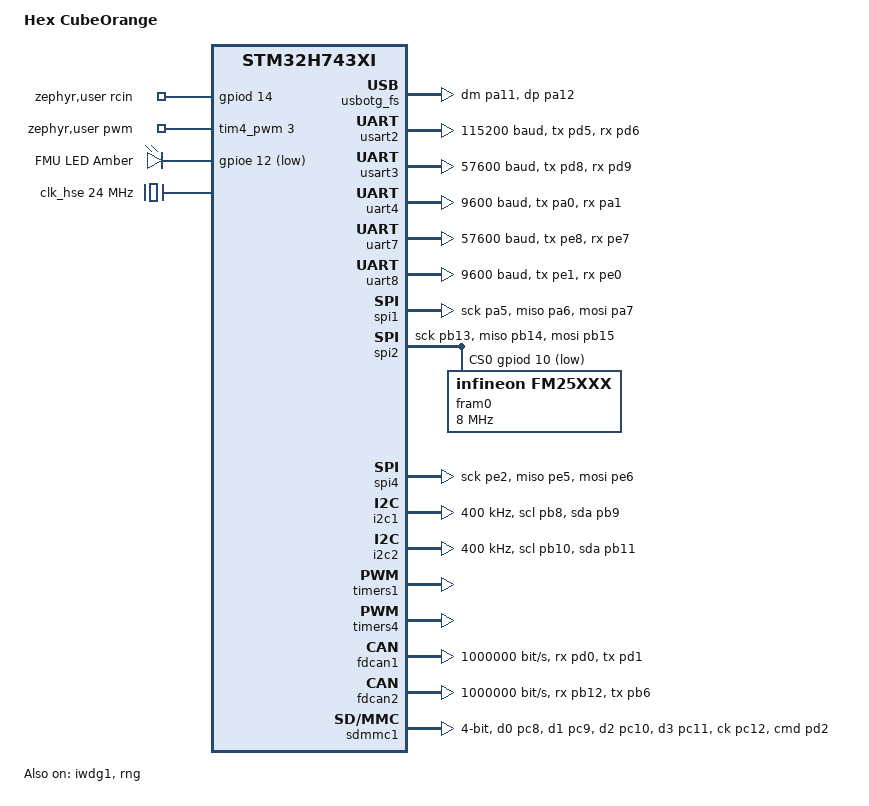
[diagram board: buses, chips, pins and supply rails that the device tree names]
/* Board DTS for Hex CubeOrange - STM32H743IIK6 flight management unit.
 * Same hardware as the ChibiOS CubeOrange target, deliberately, so the two
 * backends can be compared on one board. */

/dts-v1/;
#include <st/h7/stm32h743Xi.dtsi>
#include <st/h7/stm32h743iikx-pinctrl.dtsi>
#include <zephyr/dt-bindings/gpio/gpio.h>
#include <zephyr/dt-bindings/i2c/i2c.h>

/ {
	model = "Hex CubeOrange";
	compatible = "hex,cube-orange";

	chosen {
		zephyr,sram    = &sram0;
		zephyr,flash   = &flash0;
		/* Route printk/LOG to USB CDC ACM for terminal access */
		zephyr,console = &cdc_acm0;
		zephyr,stdout  = &cdc_acm0;
	};

	zephyr,user {
		/* PPM-SUM RC input: AUX OUT 6 pin (PD14) repurposed as a
		 * capture input (edge-IRQ + micros() timestamps in
		 * RCInput.cpp). Costs SERVO6 — see &timers4 below. Plug the
		 * receiver's PPM lead onto the AUX6 rail column. */
		rcin-gpios = <&gpiod 14 GPIO_ACTIVE_HIGH>;
		/* RC PPM hardware-capture device+channel
		 * (CONFIG_AP_RCIN_PWM_CAPTURE): TIM4 channel 3 = PD14/AUX6,
		 * see &timers4. Cells: <channel period flags>; period/flags
		 * unused in capture mode. When this config is enabled the
		 * rcin-gpios software edge path above compiles out. */
		pwms = <&tim4_pwm 3 0 0>;
	};

	aliases {
		/* UARTs — AP_HAL serial port indices */
		serial1 = &usart2;   /* TELEM1 */
		serial2 = &usart3;   /* TELEM2 */
		serial3 = &uart4;    /* GPS1   */
		serial4 = &uart8;    /* GPS2   */
		serial5 = &uart7;    /* SERIAL5 */
		/* CAN */
		can0 = &fdcan1;
		can1 = &fdcan2;
		/* LEDs */
		led-amber = &led_amber;
	};

	leds {
		compatible = "gpio-leds";
		led_amber: led-amber {
			/* PE12 FMU_LED_AMBER — active LOW open-drain */
			gpios = <&gpioe 12 (GPIO_ACTIVE_LOW | GPIO_OPEN_DRAIN)>;
			label = "FMU LED Amber";
		};
	};
};

/* ─── Clocks ────────────────────────────────────────────────────────────── */

&pwr {
	/* CubeOrange uses the LDO power supply (3.3 V regulator on-board) */
	power-supply = "ldo";
};

&clk_hse {
	clock-frequency = <DT_FREQ_M(24)>;
	status = "okay";
};

&clk_hsi48 {
	/* Required by usbotg_fs: STM32_SRC_HSI48 USB_SEL(3) in stm32h742.dtsi */
	status = "okay";
};

&pll {
	/* 24 MHz HSE / M=3 → 8 MHz × N=120 → 960 MHz VCO / P=2 → 480 MHz */
	div-m = <3>;
	mul-n = <120>;
	div-p = <2>;
	div-q = <8>;   /* 120 MHz SPI123 kernel clock — H743 spi_ker_ck max is
	                * 200 MHz; the previous 240 MHz was out of spec and SPI1
	                * reads returned garbage. USB uses PLL3_Q, not this. */
	div-r = <2>;
	clocks = <&clk_hse>;
	status = "okay";
};

&rcc {
	clocks = <&pll>;
	clock-frequency = <DT_FREQ_M(480)>;
	d1cpre  = <1>;   /* CPU     at 480 MHz */
	hpre    = <2>;   /* AHB     at 240 MHz */
	d1ppre  = <2>;   /* APB3    at 120 MHz */
	d2ppre1 = <2>;   /* APB1    at 120 MHz */
	d2ppre2 = <2>;   /* APB2    at 120 MHz */
	d3ppre  = <2>;   /* APB4    at 120 MHz */
};

/*
 * CubeOrange does not provide Zephyr's expected OTG FS VBUS sense path on PA9.
 * Keeping this pinctrl node causes STM32 legacy USB driver to enable VBUS
 * sensing and never attach CDC when PA9 reads low/floating.
 */
&pinctrl {
	/delete-node/ usb_otg_fs_vbus_pa9;
};

/* ─── USB OTG FS (SERIAL0 / GCS) ────────────────────────────────────────── */

/* PLL3_Q provides the 48 MHz USB kernel clock: 24 MHz HSE / M=3 -> 8 MHz x N=60
 * -> 480 MHz VCO / Q=10. HSI48 does not work on this part - the OTG core never
 * receives a kernel clock and GRSTCTL.CSRST hangs forever. */
&pll3 {
	div-m = <3>;
	mul-n = <60>;
	div-p = <2>;
	div-q = <10>;
	div-r = <2>;
	clocks = <&clk_hse>;
	status = "okay";
};

zephyr_udc0: &usbotg_fs {
	pinctrl-0 = <&usb_otg_fs_dm_pa11 &usb_otg_fs_dp_pa12>;
	pinctrl-names = "default";
	clocks = <&rcc STM32_CLOCK(AHB1, 27)>,
	         <&rcc STM32_SRC_PLL3_Q USB_SEL(2)>;
	status = "okay";

	cdc_acm0: cdc_acm0 {
		compatible = "zephyr,cdc-acm-uart";
	};
};

/* ─── UARTs ─────────────────────────────────────────────────────────────── */

/* All UARTs carry an explicit kernel/domain clock: PLL3_Q at 48 MHz. */

&usart2 {
	/* TELEM1: PD5 TX, PD6 RX — console path for BMP UART capture */
	pinctrl-0 = <&usart2_tx_pd5 &usart2_rx_pd6>;
	pinctrl-names = "default";
	clocks = <&rcc STM32_CLOCK(APB1, 17)>,
	         <&rcc STM32_SRC_PLL3_Q USART2345678_SEL(2)>;
	current-speed = <115200>;
	status = "okay";
};

&usart3 {
	/* TELEM2: PD8 TX, PD9 RX */
	pinctrl-0 = <&usart3_tx_pd8 &usart3_rx_pd9>;
	pinctrl-names = "default";
	clocks = <&rcc STM32_CLOCK(APB1, 18)>,
	         <&rcc STM32_SRC_PLL3_Q USART2345678_SEL(2)>;
	current-speed = <57600>;
	status = "okay";
};

&uart4 {
	/* GPS1: PA0 TX, PA1 RX */
	pinctrl-0 = <&uart4_tx_pa0 &uart4_rx_pa1>;
	pinctrl-names = "default";
	clocks = <&rcc STM32_CLOCK(APB1, 19)>,
	         <&rcc STM32_SRC_PLL3_Q USART2345678_SEL(2)>;
	current-speed = <9600>;
	status = "okay";
};

&uart7 {
	/* SERIAL5: PE8 TX, PE7 RX */
	pinctrl-0 = <&uart7_tx_pe8 &uart7_rx_pe7>;
	pinctrl-names = "default";
	clocks = <&rcc STM32_CLOCK(APB1, 30)>,
	         <&rcc STM32_SRC_PLL3_Q USART2345678_SEL(2)>;
	current-speed = <57600>;
	status = "okay";
};

&uart8 {
	/* GPS2: PE1 TX, PE0 RX */
	pinctrl-0 = <&uart8_tx_pe1 &uart8_rx_pe0>;
	pinctrl-names = "default";
	clocks = <&rcc STM32_CLOCK(APB1, 31)>,
	         <&rcc STM32_SRC_PLL3_Q USART2345678_SEL(2)>;
	current-speed = <9600>;
	status = "okay";
};

&usart6 {
	/* IOMCU: PC6 TX, PC7 RX. Brought up by hwdef_autogen.overlay, which
	 * emits status = "okay" from the PIN lines in hwdef.dat.
	 *
	 * The second clocks entry is the kernel clock source and is not
	 * optional: stm32h7.dtsi supplies only the APB2 gate, and without a
	 * source the driver divides against the wrong clock - BRR came out
	 * 1200 (about 100kbaud) instead of 1.5Mbaud. That is also a good way
	 * to never see TEACK assert, which is what this node was parked on.
	 */
	clocks = <&rcc STM32_CLOCK(APB2, 5)>,
	         <&rcc STM32_SRC_PLL3_Q USART16_SEL(2)>;
	pinctrl-0 = <&usart6_tx_pc6 &usart6_rx_pc7>;
	pinctrl-names = "default";
	current-speed = <1500000>;
	status = "disabled";
};

/* ─── SPI ───────────────────────────────────────────────────────────────── */

/*
 * SPI1: PA5 SCK, PA6 MISO, PA7 MOSI
 * CS: PC2 (icm20948 / MPU_CS), PD7 (ms5611 / BARO_CS)
 */
&spi1 {
	pinctrl-0 = <&spi1_sck_pa5 &spi1_miso_pa6 &spi1_mosi_pa7>;
	pinctrl-names = "default";
	/* CS order = hwdef.dat SPIDEV appearance order for this bus; the
	 * generated hwdef.h spi_dt_specs index into this array. Sensor devices
	 * themselves are NOT DTS nodes — hwdef.dat is their source of truth. */
	cs-gpios = <&gpiod 7 GPIO_ACTIVE_LOW>,   /* 0: BARO_CS (ms5611)   */
	           <&gpioc 2 GPIO_ACTIVE_LOW>;   /* 1: MPU_CS  (icm20948) */
	status = "okay";
};

/*
 * SPI2: PB13 SCK, PB14 MISO, PB15 MOSI
 * CS: PD10 (ramtron / FRAM_CS)
 */
&spi2 {
	pinctrl-0 = <&spi2_sck_pb13 &spi2_miso_pb14 &spi2_mosi_pb15>;
	pinctrl-names = "default";
	cs-gpios = <&gpiod 10 GPIO_ACTIVE_LOW>;  /* 0: FRAM_CS (ramtron) */
	status = "okay";

	/* FM25V02A 32 KiB FRAM — parameter storage (Storage.cpp backend 2,
	 * raw SPI via fram0 nodelabel; no Zephyr EEPROM driver needed).
	 * Same part/bus/CS as the ChibiOS "SPIDEV ramtron SPI2" entry. */
	fram0: fram@0 {
		compatible = "infineon,fm25xxx";
		reg = <0>;
		spi-max-frequency = <8000000>;
		size = <32768>;
	};
};

/*
 * SPI4: PE2 SCK, PE5 MISO, PE6 MOSI
 */
&spi4 {
	pinctrl-0 = <&spi4_sck_pe2 &spi4_miso_pe5 &spi4_mosi_pe6>;
	pinctrl-names = "default";
	/* Explicit domain clock: PLL3_Q (48 MHz, already running for USB).
	 * Do NOT use STM32_SRC_PCLK2 here — Zephyr's H7 enabled_clock() rejects
	 * it (-ENOTSUP), which failed spi4 init and left the device not-ready. */
	clocks = <&rcc STM32_CLOCK(APB2, 13)>,
	         <&rcc STM32_SRC_PLL3_Q SPI45_SEL(2)>;
	/* CS order = hwdef.dat SPIDEV appearance order for this bus. */
	cs-gpios = <&gpioc 14 GPIO_ACTIVE_LOW>,  /* 0: BARO_EXT_CS  (ms5611_ext)   */
	           <&gpioe 4  GPIO_ACTIVE_LOW>,  /* 1: MPU_EXT_CS   (icm20948_ext) */
	           <&gpioc 13 GPIO_ACTIVE_LOW>,  /* 2: GYRO_EXT_CS  (icm20602_ext) */
	           <&gpioc 15 GPIO_ACTIVE_LOW>;  /* 3: ACCEL_EXT_CS (pixartPC15)   */
	status = "okay";
};

/* ─── I2C ───────────────────────────────────────────────────────────────── */

/* I2C1: PB8 SCL, PB9 SDA — external connector.
 * Explicit domain clock: bootloader leaves I2C123SEL on PLL3_R (dead). */
&i2c1 {
	pinctrl-0 = <&i2c1_scl_pb8 &i2c1_sda_pb9>;
	pinctrl-names = "default";
	clocks = <&rcc STM32_CLOCK(APB1, 21)>,
	         <&rcc STM32_SRC_PCLK1 I2C123_SEL(0)>;
	clock-frequency = <I2C_BITRATE_FAST>;
	status = "okay";
};

/* I2C2: PB10 SCL, PB11 SDA — internal sensors */
&i2c2 {
	pinctrl-0 = <&i2c2_scl_pb10 &i2c2_sda_pb11>;
	pinctrl-names = "default";
	clocks = <&rcc STM32_CLOCK(APB1, 22)>,
	         <&rcc STM32_SRC_PCLK1 I2C123_SEL(0)>;
	clock-frequency = <I2C_BITRATE_FAST>;
	status = "okay";
};

/* ─── Watchdog (IWDG) ───────────────────────────────────────────────────── */

/* Independent hardware watchdog — the last-resort backstop the software
 * monitor thread cannot provide: if an IRQ storm or total lockup starves
 * every thread (including the monitor), only this LSI-clocked hardware
 * timer can reset the SoC. Fed by the monitor thread in Scheduler.cpp;
 * freezes on debugger halt so BMP/GDB sessions don't trip it. */
&iwdg1 {
	status = "okay";
};

/* ─── PWM outputs ───────────────────────────────────────────────────────── */

/* FMU AUX outputs 1-6 (ArduPilot PWM(1)..PWM(6), matching the ChibiOS
 * CubeOrange map: PWM1=TIM1_CH4 PE14, PWM2=TIM1_CH3 PE13, PWM3=TIM1_CH2
 * PE11, PWM4=TIM1_CH1 PE9, PWM5=TIM4_CH2 PD13, PWM6=TIM4_CH3 PD14).
 * MAIN outputs 1-8 sit behind the IOMCU (not supported yet).
 * st,prescaler 239: 240 MHz APBx timer kernel clock -> 1 MHz, 1 tick = 1 us. */
&timers1 {
	status = "okay";
	st,prescaler = <239>;
	tim1_pwm: pwm {
		status = "okay";
		pinctrl-0 = <&tim1_ch1_pe9 &tim1_ch2_pe11 &tim1_ch3_pe13 &tim1_ch4_pe14>;
		pinctrl-names = "default";
	};
};

/* TIM4: DEDICATED to RC PPM hardware input capture (2026-08-13). pwm_stm32 gates
 * output on the whole timer, so no channel of TIM4 can drive a servo. */
&timers4 {
	status = "okay";
	st,prescaler = <239>;
	tim4_pwm: pwm {
		status = "okay";
		four-channel-capture-support;
		pinctrl-0 = <&tim4_ch3_pd14>;
		pinctrl-names = "default";
	};
};

/* ─── CAN (FDCAN) ───────────────────────────────────────────────────────── */

/* FDCAN1: PD0 RX, PD1 TX — CAN1 bus */
&fdcan1 {
	pinctrl-0 = <&fdcan1_rx_pd0 &fdcan1_tx_pd1>;
	pinctrl-names = "default";
	bitrate = <1000000>;
	bitrate-data = <1000000>;
	status = "okay";
};

/* FDCAN2: PB12 RX, PB6 TX — CAN2 bus */
&fdcan2 {
	pinctrl-0 = <&fdcan2_rx_pb12 &fdcan2_tx_pb6>;
	pinctrl-names = "default";
	bitrate = <1000000>;
	bitrate-data = <1000000>;
	status = "okay";
};

/* ─── RNG (hardware true random number generator) ───────────────────────── */

&rng {
	status = "okay";
};

/* ─── SDMMC1 (microSD) ──────────────────────────────────────────────────── */

&sdmmc1 {
	pinctrl-0 = <&sdmmc1_d0_pc8 &sdmmc1_d1_pc9 &sdmmc1_d2_pc10 &sdmmc1_d3_pc11
	             &sdmmc1_ck_pc12 &sdmmc1_cmd_pd2>;
	pinctrl-names = "default";
	disk-name = "SD";
	bus-width = <4>;
	status = "okay";
};

/* SysTick minimum programmable delay, the Zephyr analogue of ChibiOS's
 * CH_CFG_ST_TIMEDELTA. Must stay below CYC_PER_TICK - see prj.conf's table. */
&systick {
	zephyr,min-timeout-cycles = <4800>;
};
